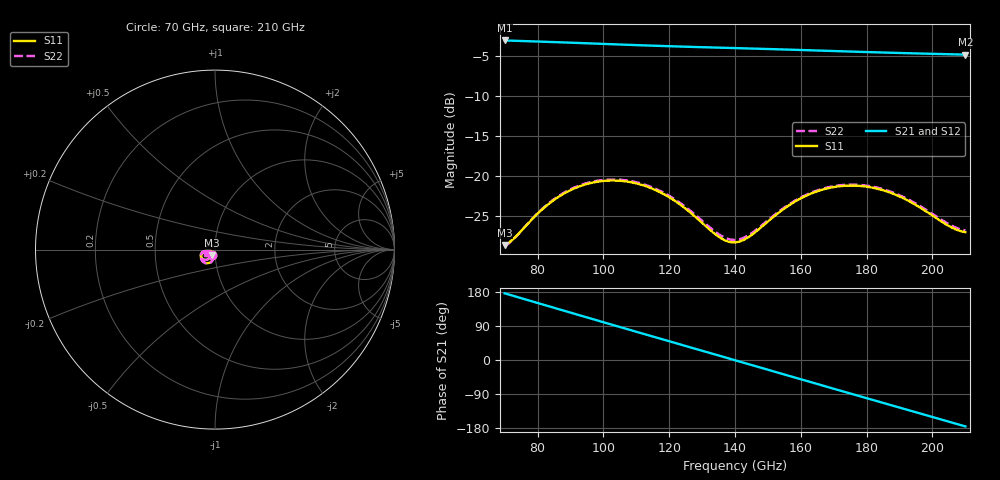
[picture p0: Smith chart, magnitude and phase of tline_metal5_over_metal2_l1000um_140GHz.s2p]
#  GHZ S DB R 50
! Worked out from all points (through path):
!   101 points, 70 GHz to 210 GHz, reference 50 ohm
!   highest |S21| = -3.10 dB at 70 GHz (marker M1); lowest = -4.9 dB at 210 GHz (marker M2)
!   group delay of S21, straight-line fit = 6.97 ps
!   lowest |S11| = -28.6 dB at 70 GHz (marker M3), VSWR 1.08, Z = 48.1 - j3.11 ohm
!   |S11| at or under -10 dB: start of sweep to end of sweep
!   |S22| runs from -28.7 to -20.4 dB; largest |S21 - S12| = 7.3e-14
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70  -28.56 -120.1  -3.10 176.0  -3.10 176.0  -28.70 -118.4
75.6  -26.56 -105.6  -3.17 161.7  -3.17 161.7  -26.54 -103.7
81.2  -24.21 -104.4  -3.25 147.5  -3.25 147.5  -24.13 -102.8
88.2  -22.12 -111.9  -3.35 129.7  -3.35 129.7  -22.01 -110.6
93.8  -21.11 -120.9  -3.43 115.5  -3.43 115.5  -20.99 -119.7
99.4  -20.61 -130.8  -3.52 101.3  -3.52 101.3  -20.49 -129.6
105  -20.56 -140.8  -3.60 87.2  -3.60 87.2  -20.43 -139.7
110.6  -20.95 -150.4  -3.68 73.1  -3.68 73.1  -20.80 -149.2
117.6  -22.06 -160.8  -3.78 55.5  -3.78 55.5  -21.89 -159.6
128.8  -25.36 -167.8  -3.92 27.5  -3.92 27.5  -25.11 -166.6
135.8  -27.73 -157.8  -4.00 9.9  -4.00 9.9  -27.41 -157.2
140  -28.24 -145.3  -4.05 -0.6  -4.05 -0.6  -27.93 -145.3
144.2  -27.56 -133.5  -4.09 -11.2  -4.09 -11.2  -27.31 -133.8
151.2  -25.22 -125.1  -4.18 -28.7  -4.18 -28.7  -25.07 -125.3
158.2  -23.16 -127.8  -4.26 -46.3  -4.26 -46.3  -23.04 -127.7
163.8  -22.04 -133.7  -4.33 -60.3  -4.33 -60.3  -21.93 -133.4
169.4  -21.39 -141.0  -4.41 -74.3  -4.41 -74.3  -21.27 -140.7
175  -21.16 -148.9  -4.48 -88.3  -4.48 -88.3  -21.04 -148.4
180.6  -21.33 -156.6  -4.55 -102.2  -4.55 -102.2  -21.20 -156.1
187.6  -22.11 -165.1  -4.63 -119.6  -4.63 -119.6  -21.96 -164.4
198.8  -24.57 -171.0  -4.75 -147.4  -4.75 -147.4  -24.37 -170.4
210  -26.96 -156.2  -4.86 -175.3  -4.86 -175.3  -26.74 -156.3
